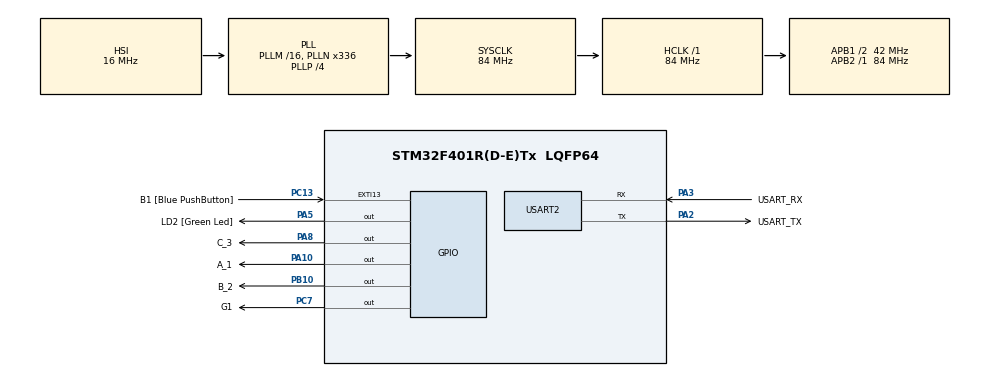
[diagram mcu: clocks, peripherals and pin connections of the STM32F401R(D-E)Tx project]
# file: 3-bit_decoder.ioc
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Mcu.Family=STM32F4
Mcu.Name=STM32F401R(D-E)Tx
Mcu.Package=LQFP64
NVIC.PriorityGroup=NVIC_PRIORITYGROUP_4
PA10.GPIO_Label=A_1
PA10.Signal=GPIO_Output
PA13.GPIO_Label=TMS
PA13.Mode=Trace_Asynchronous_SW
PA13.Signal=SYS_JTMS-SWDIO
PA14.GPIO_Label=TCK
PA14.Mode=Trace_Asynchronous_SW
PA14.Signal=SYS_JTCK-SWCLK
PA2.GPIO_Label=USART_TX
PA2.GPIO_Mode=GPIO_MODE_AF_PP
PA2.GPIO_PuPd=GPIO_NOPULL
PA2.GPIO_Speed=GPIO_SPEED_FREQ_LOW
PA2.Mode=Asynchronous
PA2.Signal=USART2_TX
PA3.GPIO_Label=USART_RX
PA3.GPIO_Mode=GPIO_MODE_AF_PP
PA3.GPIO_PuPd=GPIO_NOPULL
PA3.GPIO_Speed=GPIO_SPEED_FREQ_LOW
PA3.Mode=Asynchronous
PA3.Signal=USART2_RX
PA5.GPIO_Label=LD2 [Green Led]
PA5.GPIO_Mode=GPIO_MODE_OUTPUT_PP
PA5.GPIO_PuPd=GPIO_NOPULL
PA5.GPIO_Speed=GPIO_SPEED_FREQ_LOW
PA5.Signal=GPIO_Output
PA8.GPIO_Label=C_3
PA8.Signal=GPIO_Output
PB10.GPIO_Label=B_2
PB10.Signal=GPIO_Output
PB3.GPIO_Label=SWO
PB3.Mode=Trace_Asynchronous_SW
PB3.Signal=SYS_JTDO-SWO
PC13-ANTI_TAMP.GPIO_Label=B1 [Blue PushButton]
PC13-ANTI_TAMP.GPIO_ModeDefaultEXTI=GPIO_MODE_IT_FALLING
PC13-ANTI_TAMP.GPIO_PuPd=GPIO_NOPULL
PC13-ANTI_TAMP.Signal=GPXTI13
PC14-OSC32_IN.Mode=LSE-External-Oscillator
PC14-OSC32_IN.Signal=RCC_OSC32_IN
PC15-OSC32_OUT.Mode=LSE-External-Oscillator
PC15-OSC32_OUT.Signal=RCC_OSC32_OUT
PC7.GPIO_Label=G1
PC7.Signal=GPIO_Output
PH0\ -\ OSC_IN.Mode=HSE-External-Clock-Source
PH0\ -\ OSC_IN.Signal=RCC_OSC_IN
PH1\ -\ OSC_OUT.Mode=HSE-External-Clock-Source
PH1\ -\ OSC_OUT.Signal=RCC_OSC_OUT
ProjectManager.HeapSize=0x200
ProjectManager.StackSize=0x400
ProjectManager.TargetToolchain=CMake
RCC.48MHZClocksFreq_Value=48000000
RCC.AHBFreq_Value=84000000
RCC.APB1CLKDivider=RCC_HCLK_DIV2
RCC.APB1Freq_Value=42000000
RCC.APB1TimFreq_Value=84000000
RCC.APB2Freq_Value=84000000
RCC.APB2TimFreq_Value=84000000
RCC.CortexFreq_Value=84000000
RCC.HCLKFreq_Value=84000000
RCC.HSE_VALUE=8000000
RCC.HSI_VALUE=16000000
RCC.PLLN=336
RCC.PLLP=RCC_PLLP_DIV4
RCC.PLLQ=7
RCC.SYSCLKFreq_VALUE=84000000
RCC.SYSCLKSource=RCC_SYSCLKSOURCE_PLLCLK
RCC.VCOOutputFreq_Value=336000000
USART2.VirtualMode=VM_ASYNC
board=NUCLEO-F401RE

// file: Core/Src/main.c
/* USER CODE BEGIN Header */
/**
  ******************************************************************************
  * @file           : main.c
  * @brief          : Main program body
  ******************************************************************************
  * @attention
  *
  * Copyright (c) 2026 STMicroelectronics.
  * All rights reserved.
  *
  * This software is licensed under terms that can be found in the LICENSE file
  * in the root directory of this software component.
  * If no LICENSE file comes with this software, it is provided AS-IS.
  *
  ******************************************************************************
  */
/* USER CODE END Header */
#include "main.h"
#include "usart.h"
#include "gpio.h"

void SystemClock_Config(void);
/* USER CODE BEGIN PFP */
void DEC_Select(uint8_t n);
void DEC_Enable(uint8_t on);
void DEC_On(uint8_t n);
void DEC_Off(void);
void Demo_Count(uint32_t ms);
void Demo_Knight(uint32_t ms);
void Demo_Pattern(uint8_t pattern, uint32_t hold_ms);
/* USER CODE END PFP */

/* USER CODE BEGIN 0 */

/* 선택 코드만 바꾼다 (출력 허가는 건드리지 않음). n = 0 ~ 7 */
void DEC_Select(uint8_t n)
{
  HAL_GPIO_WritePin(A_1_GPIO_Port, A_1_Pin, (n & 0x01) ? GPIO_PIN_SET : GPIO_PIN_RESET);
  HAL_GPIO_WritePin(B_2_GPIO_Port, B_2_Pin, (n & 0x02) ? GPIO_PIN_SET : GPIO_PIN_RESET);
  HAL_GPIO_WritePin(C_3_GPIO_Port, C_3_Pin, (n & 0x04) ? GPIO_PIN_SET : GPIO_PIN_RESET);
}

/* 출력 허가 / 금지 (G1) */
void DEC_Enable(uint8_t on)
{
  HAL_GPIO_WritePin(G1_GPIO_Port, G1_Pin, on ? GPIO_PIN_SET : GPIO_PIN_RESET);
}

/* LEDn 하나만 켜기. 바꾸기 전에 G1을 내렸다가 다시 올려 고스팅을 없앤다. */
void DEC_On(uint8_t n)
{
  DEC_Enable(0);
  DEC_Select(n);
  DEC_Enable(1);
}

void DEC_Off(void) { DEC_Enable(0); }

/* 0 -> 7 순차 점등 */
void Demo_Count(uint32_t ms)
{
  for (uint8_t i = 0; i < 8; i++) { DEC_On(i); HAL_Delay(ms); }
}

/* 나이트라이더 (0->7->1) */
void Demo_Knight(uint32_t ms)
{
  for (uint8_t i = 0; i < 8; i++) { DEC_On(i); HAL_Delay(ms); }
  for (uint8_t i = 6; i > 0; i--) { DEC_On(i); HAL_Delay(ms); }
}

/* 8비트 패턴을 시분할(멀티플렉싱)로 표시. 비트0 = LED0 ... 비트7 = LED7 */
void Demo_Pattern(uint8_t pattern, uint32_t hold_ms)
{
  uint32_t t0 = HAL_GetTick();
  do {
    for (uint8_t i = 0; i < 8; i++) {
      if (pattern & (1u << i)) DEC_On(i);
      else                     DEC_Off();
      HAL_Delay(1);
    }
  } while (HAL_GetTick() - t0 < hold_ms);
  DEC_Off();
}

/* USER CODE END 0 */

int main(void)
{

  /* MCU Configuration--------------------------------------------------------*/

  /* Reset of all peripherals, Initializes the Flash interface and the Systick. */
  HAL_Init();

  /* Configure the system clock */
  SystemClock_Config();

  /* Initialize all configured peripherals */
  MX_GPIO_Init();
  MX_USART2_UART_Init();

  /* Infinite loop */
  while (1)
  {

    /* USER CODE BEGIN 3 */
    Demo_Count(200);          /* 0 -> 7 순차 */
    Demo_Knight(70);          /* 나이트라이더 */
    Demo_Knight(70);

    Demo_Pattern(0xAA, 1500); /* 10101010 */
    Demo_Pattern(0x0F, 1500); /* 00001111 */
    Demo_Pattern(0xFF, 1500); /* 전부 켜진 것처럼 보임 */

    DEC_Off();
    HAL_Delay(500);
  }
  /* USER CODE END 3 */
}

void SystemClock_Config(void)
{
  RCC_OscInitTypeDef RCC_OscInitStruct = {0};
  RCC_ClkInitTypeDef RCC_ClkInitStruct = {0};

  /** Configure the main internal regulator output voltage
  */
  __HAL_RCC_PWR_CLK_ENABLE();
  __HAL_PWR_VOLTAGESCALING_CONFIG(PWR_REGULATOR_VOLTAGE_SCALE2);

  /** Initializes the RCC Oscillators according to the specified parameters
  * in the RCC_OscInitTypeDef structure.
  */
  RCC_OscInitStruct.OscillatorType = RCC_OSCILLATORTYPE_HSI;
  RCC_OscInitStruct.HSIState = RCC_HSI_ON;
  RCC_OscInitStruct.HSICalibrationValue = RCC_HSICALIBRATION_DEFAULT;
  RCC_OscInitStruct.PLL.PLLState = RCC_PLL_ON;
  RCC_OscInitStruct.PLL.PLLSource = RCC_PLLSOURCE_HSI;
  RCC_OscInitStruct.PLL.PLLM = 16;
  RCC_OscInitStruct.PLL.PLLN = 336;
  RCC_OscInitStruct.PLL.PLLP = RCC_PLLP_DIV4;
  RCC_OscInitStruct.PLL.PLLQ = 7;
  if (HAL_RCC_OscConfig(&RCC_OscInitStruct) != HAL_OK)
  {
    Error_Handler();
  }

  /** Initializes the CPU, AHB and APB buses clocks
  */
  RCC_ClkInitStruct.ClockType = RCC_CLOCKTYPE_HCLK|RCC_CLOCKTYPE_SYSCLK
                              |RCC_CLOCKTYPE_PCLK1|RCC_CLOCKTYPE_PCLK2;
  RCC_ClkInitStruct.SYSCLKSource = RCC_SYSCLKSOURCE_PLLCLK;
  RCC_ClkInitStruct.AHBCLKDivider = RCC_SYSCLK_DIV1;
  RCC_ClkInitStruct.APB1CLKDivider = RCC_HCLK_DIV2;
  RCC_ClkInitStruct.APB2CLKDivider = RCC_HCLK_DIV1;

  if (HAL_RCC_ClockConfig(&RCC_ClkInitStruct, FLASH_LATENCY_2) != HAL_OK)
  {
    Error_Handler();
  }
}

void Error_Handler(void)
{
  __disable_irq();
  while (1)
  {
  }
}
